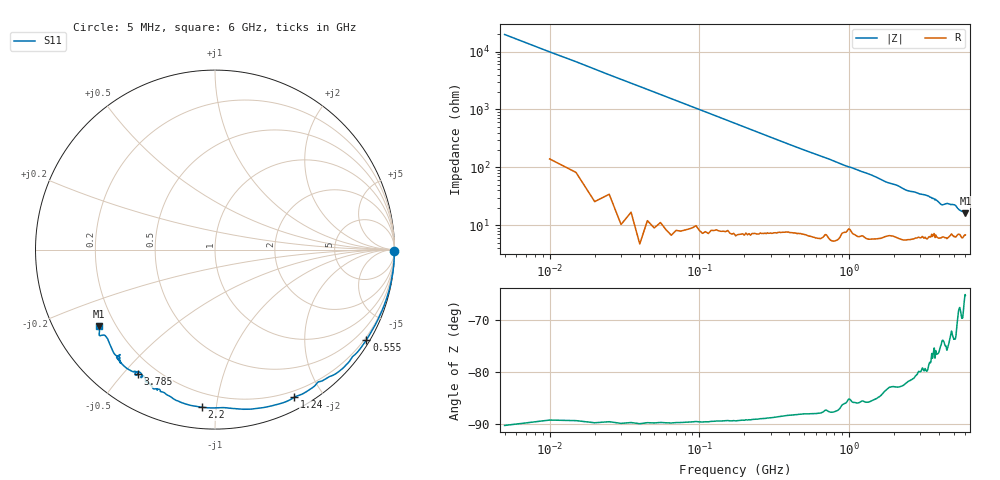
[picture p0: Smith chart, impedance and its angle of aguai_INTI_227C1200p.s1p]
# Hz S RI R 50.000000
! Metas.Vna.Tools, 3.0.9519.15400
! Metas.Vna.Data, 3.0.9519.15360
! Created: UTC 2026.10.23 21:42:47
! FREQ  re:S1,1  im:S1,1
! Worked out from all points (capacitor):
!   1200 points, 5 MHz to 6 GHz, reference 50 ohm
!   read as one part to ground: C = 1.59 pF near 35 MHz
!   lowest |Z| = 16.3 ohm at 6 GHz (marker M1)
!   S11 on the Smith chart (normalised r, x): 5 MHz: open; 555 MHz: 0.13, -3.62; 1.24 GHz: 0.13, -1.67; 2.2 GHz: 0.12, -0.91; 3.785 GHz: 0.13, -0.55; 6 GHz: 0.14, -0.30
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5000000  1 -0.00507
2.5e8  0.965 -0.2453
5.55e8  0.8434 -0.503
7.55e8  0.742 -0.631
8.75e8  0.6579 -0.6999
1.24e9  0.4428 -0.8217
1.505e9  0.2872 -0.8766
1.77e9  0.1023 -0.886
2.065e9  -0.00305 -0.8821
2.2e9  -0.0729 -0.8783
2.255e9  -0.1056 -0.8737
2.46e9  -0.1982 -0.8471
2.75e9  -0.2409 -0.8239
3.005e9  -0.3044 -0.7903
3.335e9  -0.3442 -0.7747
3.58e9  -0.4 -0.7054
3.68e9  -0.409 -0.6956
3.755e9  -0.445 -0.6956
3.785e9  -0.4307 -0.6915
4.15e9  -0.5468 -0.6043
4.255e9  -0.5447 -0.598
4.505e9  -0.527 -0.6326
4.815e9  -0.5312 -0.5858
5.12e9  -0.55 -0.5909
5.255e9  -0.5784 -0.5443
5.46e9  -0.6093 -0.4825
5.745e9  -0.6453 -0.4768
6e9  -0.6488 -0.4281
